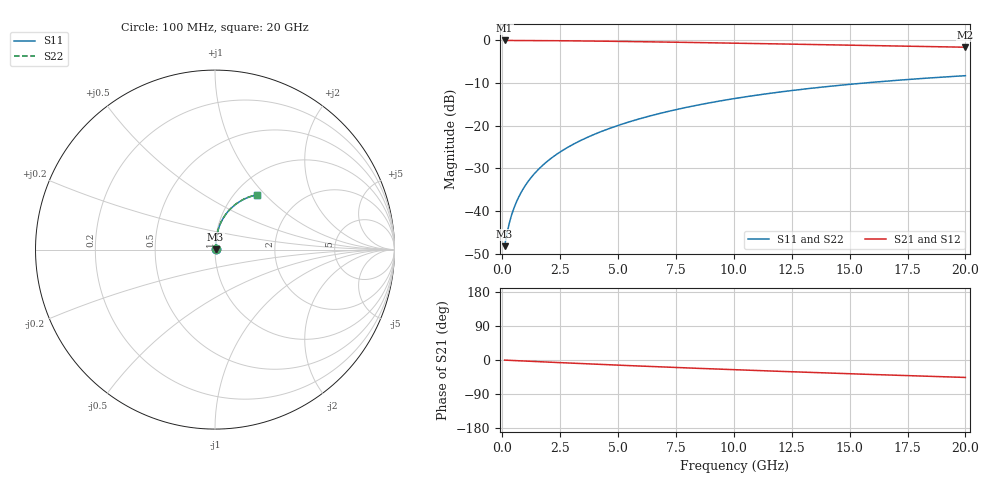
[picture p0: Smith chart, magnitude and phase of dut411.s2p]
! Touchstone file exported from HFSS 2024.1.0
!  File:  C:/UserFiles/LocalFiles/RDL_TSV_Batchsim/temp_RDL_bottom_411_1779683330.aedt
!  Generated:  12:31:18 PM May 25, 2026
!  Design:  RDL_bottom
!  Project:  temp_RDL_bottom_411_1779683330
!  Setup:  Setup1
!  Solution:  Sweep
! Variables:
!  dtsv = 10.80580581um
!  hbump = 3um
!  htsv = 54.6um
!  ldown = 692.41um
!  lrdl = 100um
!  p = 40
!  p1 = 45.44um
!  rhole = 1um
!  t = 450um
!  tdown = 3.85um
!  trdl = 3.915915916um
!  wdown = 20.92um
!  wrdl = 20um
# GHz S MA R 50.000000
! Terminal data exported
! Port[1] = RDL1_T1
! Port[2] = RDL1_T2
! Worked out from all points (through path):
!   200 points, 100 MHz to 20 GHz, reference 50 ohm
!   highest |S21| = -0.03 dB at 100 MHz (marker M1); lowest = -1.6 dB at 20 GHz (marker M2)
!   group delay of S21, straight-line fit = 6.34 ps
!   lowest |S11| = -48.2 dB at 100 MHz (marker M3), VSWR 1.01, Z = 50.3 + j0.22 ohm
!   |S11| at or under -10 dB: start of sweep to 15.61 GHz
!   |S22| runs from -48.2 to -8.3 dB; largest |S21 - S12| = 6.3e-15
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0.1  0.003896 34.1  0.9968 -0.3  0.9968 -0.3  0.003896 34.1
! Gamma 0 0 0 0
! Port Impedance 50 0 50 0
0.2  0.005461 51.5  0.9966 -0.6  0.9966 -0.6  0.005461 51.5
0.3  0.007211 60.2  0.9963 -0.9  0.9963 -0.9  0.00721 60.2
0.4  0.008998 65.5  0.9961 -1.2  0.9961 -1.2  0.008998 65.5
0.5  0.01081 69.1  0.9959 -1.4  0.9959 -1.4  0.01081 69.1
0.6  0.01263 71.7  0.9957 -1.7  0.9957 -1.7  0.01263 71.7
0.8  0.01634 75.4  0.9954 -2.3  0.9954 -2.3  0.01634 75.4
1.1  0.02201 78.6  0.9947 -3.1  0.9947 -3.1  0.02201 78.6
1.3  0.02584 79.9  0.9941 -3.7  0.9941 -3.7  0.02584 79.9
1.6  0.03164 81.2  0.9932 -4.5  0.9932 -4.5  0.03164 81.2
2.1  0.04144 82.3  0.9912 -5.9  0.9912 -5.9  0.04144 82.4
2.7  0.05338 82.9  0.9883 -7.5  0.9883 -7.5  0.05339 82.9
3.5  0.0696 82.9  0.9836 -9.7  0.9836 -9.7  0.06963 82.9
4.2  0.08407 82.4  0.9787 -11.5  0.9787 -11.5  0.08411 82.5
5  0.1009 81.6  0.9725 -13.6  0.9725 -13.6  0.1009 81.6
6.8  0.1394 78.9  0.9571 -18.1  0.9571 -18.1  0.1395 79.0
8.4  0.1738 76.0  0.9422 -21.9  0.9422 -21.9  0.174 76.1
10.1  0.2098 72.6  0.9259 -25.8  0.9259 -25.8  0.2101 72.6
11.7  0.2426 69.2  0.9103 -29.3  0.9103 -29.3  0.2429 69.3
13.4  0.2758 65.6  0.8937 -32.9  0.8937 -32.9  0.2762 65.7
16.7  0.3347 58.8  0.8617 -39.7  0.8617 -39.7  0.3352 58.9
20  0.3856 52.3  0.8307 -46.0  0.8307 -46.0  0.3862 52.4
